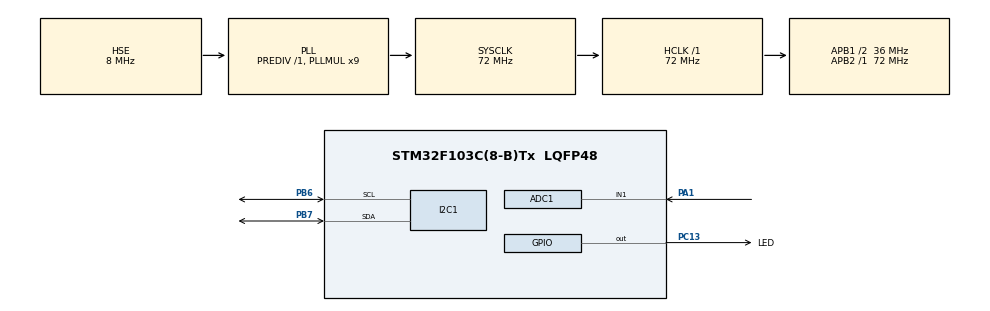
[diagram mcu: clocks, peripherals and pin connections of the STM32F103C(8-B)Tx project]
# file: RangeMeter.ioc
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ADC1.Channel-0\#ChannelRegularConversion=ADC_CHANNEL_1
ADC1.NbrOfConversionFlag=1
ADC1.Rank-0\#ChannelRegularConversion=1
ADC1.SamplingTime-0\#ChannelRegularConversion=ADC_SAMPLETIME_1CYCLE_5
ADC1.master=1
Mcu.Family=STM32F1
Mcu.Name=STM32F103C(8-B)Tx
Mcu.Package=LQFP48
NVIC.PriorityGroup=NVIC_PRIORITYGROUP_4
PA1.Signal=ADCx_IN1
PA13.Mode=Serial_Wire
PA13.Signal=SYS_JTMS-SWDIO
PA14.Mode=Serial_Wire
PA14.Signal=SYS_JTCK-SWCLK
PB6.Mode=I2C
PB6.Signal=I2C1_SCL
PB7.Mode=I2C
PB7.Signal=I2C1_SDA
PC13-TAMPER-RTC.GPIO_Label=LED
PC13-TAMPER-RTC.Signal=GPIO_Output
PD0-OSC_IN.Mode=HSE-External-Oscillator
PD0-OSC_IN.Signal=RCC_OSC_IN
PD1-OSC_OUT.Mode=HSE-External-Oscillator
PD1-OSC_OUT.Signal=RCC_OSC_OUT
ProjectManager.HeapSize=0x200
ProjectManager.StackSize=0x400
ProjectManager.TargetToolchain=STM32CubeIDE
RCC.ADCPresc=RCC_ADCPCLK2_DIV6
RCC.AHBFreq_Value=72000000
RCC.APB1CLKDivider=RCC_HCLK_DIV2
RCC.APB1Freq_Value=36000000
RCC.APB1TimFreq_Value=72000000
RCC.APB2Freq_Value=72000000
RCC.APB2TimFreq_Value=72000000
RCC.HCLKFreq_Value=72000000
RCC.PLLMUL=RCC_PLL_MUL9
RCC.PLLSourceVirtual=RCC_PLLSOURCE_HSE
RCC.SYSCLKFreq_VALUE=72000000
RCC.SYSCLKSource=RCC_SYSCLKSOURCE_PLLCLK
RCC.USBFreq_Value=72000000
SH.ADCx_IN1.0=ADC1_IN1,IN1
board=custom

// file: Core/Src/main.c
/* USER CODE BEGIN Header */
/**
  ******************************************************************************
  * @file           : main.c
  * @brief          : Main program body
  ******************************************************************************
  * @attention
  *
  * Copyright (c) 2024 STMicroelectronics.
  * All rights reserved.
  *
  * This software is licensed under terms that can be found in the LICENSE file
  * in the root directory of this software component.
  * If no LICENSE file comes with this software, it is provided AS-IS.
  *
  ******************************************************************************
  */
/* USER CODE END Header */
#include "main.h"

/* USER CODE BEGIN Includes */

#include "i2c-lcd.h"
#include <math.h>
#include <stdio.h>

/* USER CODE END Includes */

ADC_HandleTypeDef hadc1;

I2C_HandleTypeDef hi2c1;

void SystemClock_Config(void);
static void MX_GPIO_Init(void);
static void MX_I2C1_Init(void);
static void MX_ADC1_Init(void);

int main(void)
{

  /* USER CODE BEGIN 1 */

	uint16_t adc_value;
	float v;
	float raw_distance;
	char float_str_distance [50];
	char float_str_voltage [50];

  /* USER CODE END 1 */

  /* MCU Configuration--------------------------------------------------------*/

  /* Reset of all peripherals, Initializes the Flash interface and the Systick. */
  HAL_Init();

  /* Configure the system clock */
  SystemClock_Config();

  /* Initialize all configured peripherals */
  MX_GPIO_Init();
  MX_I2C1_Init();
  MX_ADC1_Init();
  /* USER CODE BEGIN 2 */

  HAL_ADCEx_Calibration_Start(&hadc1);
  lcd_init();

  /* USER CODE END 2 */

  /* Infinite loop */
  while (1)
  {

    /* USER CODE BEGIN 3 */
	  HAL_ADC_Start(&hadc1);
	  HAL_ADC_PollForConversion(&hadc1, 100);
	  adc_value = HAL_ADC_GetValue(&hadc1);
	  HAL_ADC_Stop(&hadc1);

	  v = adc_value * (3.3 / 4096);

	  raw_distance = -154.87537 * pow(v,7) + 1995.85850 * pow(v,6) -10818.02023 * pow(v,5) + 31962.20404 * pow(v, 4) -55626.99701 * pow(v, 3) + 57152.86717 * pow(v, 2) -32273.98130 * v + 7853.47707;

	  lcd_clear();
	  lcd_put_cur(0, 0);

	  snprintf(float_str_distance, sizeof(float_str_distance), "%.2f Cm", raw_distance);

	  lcd_send_string(float_str_distance);

	  HAL_Delay(50);

	  lcd_put_cur(1, 0);

	  snprintf(float_str_voltage, sizeof(float_str_voltage), "%.2f Volts", v);

	  lcd_send_string(float_str_voltage);

	  HAL_Delay(500);
  }
  /* USER CODE END 3 */
}

void SystemClock_Config(void)
{
  RCC_OscInitTypeDef RCC_OscInitStruct = {0};
  RCC_ClkInitTypeDef RCC_ClkInitStruct = {0};
  RCC_PeriphCLKInitTypeDef PeriphClkInit = {0};

  /** Initializes the RCC Oscillators according to the specified parameters
  * in the RCC_OscInitTypeDef structure.
  */
  RCC_OscInitStruct.OscillatorType = RCC_OSCILLATORTYPE_HSE;
  RCC_OscInitStruct.HSEState = RCC_HSE_ON;
  RCC_OscInitStruct.HSEPredivValue = RCC_HSE_PREDIV_DIV1;
  RCC_OscInitStruct.HSIState = RCC_HSI_ON;
  RCC_OscInitStruct.PLL.PLLState = RCC_PLL_ON;
  RCC_OscInitStruct.PLL.PLLSource = RCC_PLLSOURCE_HSE;
  RCC_OscInitStruct.PLL.PLLMUL = RCC_PLL_MUL9;
  if (HAL_RCC_OscConfig(&RCC_OscInitStruct) != HAL_OK)
  {
    Error_Handler();
  }

  /** Initializes the CPU, AHB and APB buses clocks
  */
  RCC_ClkInitStruct.ClockType = RCC_CLOCKTYPE_HCLK|RCC_CLOCKTYPE_SYSCLK
                              |RCC_CLOCKTYPE_PCLK1|RCC_CLOCKTYPE_PCLK2;
  RCC_ClkInitStruct.SYSCLKSource = RCC_SYSCLKSOURCE_PLLCLK;
  RCC_ClkInitStruct.AHBCLKDivider = RCC_SYSCLK_DIV1;
  RCC_ClkInitStruct.APB1CLKDivider = RCC_HCLK_DIV2;
  RCC_ClkInitStruct.APB2CLKDivider = RCC_HCLK_DIV1;

  if (HAL_RCC_ClockConfig(&RCC_ClkInitStruct, FLASH_LATENCY_2) != HAL_OK)
  {
    Error_Handler();
  }
  PeriphClkInit.PeriphClockSelection = RCC_PERIPHCLK_ADC;
  PeriphClkInit.AdcClockSelection = RCC_ADCPCLK2_DIV6;
  if (HAL_RCCEx_PeriphCLKConfig(&PeriphClkInit) != HAL_OK)
  {
    Error_Handler();
  }
}

static void MX_ADC1_Init(void)
{

  ADC_ChannelConfTypeDef sConfig = {0};

  /** Common config
  */
  hadc1.Instance = ADC1;
  hadc1.Init.ScanConvMode = ADC_SCAN_DISABLE;
  hadc1.Init.ContinuousConvMode = DISABLE;
  hadc1.Init.DiscontinuousConvMode = DISABLE;
  hadc1.Init.ExternalTrigConv = ADC_SOFTWARE_START;
  hadc1.Init.DataAlign = ADC_DATAALIGN_RIGHT;
  hadc1.Init.NbrOfConversion = 1;
  if (HAL_ADC_Init(&hadc1) != HAL_OK)
  {
    Error_Handler();
  }

  /** Configure Regular Channel
  */
  sConfig.Channel = ADC_CHANNEL_1;
  sConfig.Rank = ADC_REGULAR_RANK_1;
  sConfig.SamplingTime = ADC_SAMPLETIME_1CYCLE_5;
  if (HAL_ADC_ConfigChannel(&hadc1, &sConfig) != HAL_OK)
  {
    Error_Handler();
  }

}

static void MX_I2C1_Init(void)
{

  hi2c1.Instance = I2C1;
  hi2c1.Init.ClockSpeed = 100000;
  hi2c1.Init.DutyCycle = I2C_DUTYCYCLE_2;
  hi2c1.Init.OwnAddress1 = 0;
  hi2c1.Init.AddressingMode = I2C_ADDRESSINGMODE_7BIT;
  hi2c1.Init.DualAddressMode = I2C_DUALADDRESS_DISABLE;
  hi2c1.Init.OwnAddress2 = 0;
  hi2c1.Init.GeneralCallMode = I2C_GENERALCALL_DISABLE;
  hi2c1.Init.NoStretchMode = I2C_NOSTRETCH_DISABLE;
  if (HAL_I2C_Init(&hi2c1) != HAL_OK)
  {
    Error_Handler();
  }

}

static void MX_GPIO_Init(void)
{
  GPIO_InitTypeDef GPIO_InitStruct = {0};

  /* GPIO Ports Clock Enable */
  __HAL_RCC_GPIOC_CLK_ENABLE();
  __HAL_RCC_GPIOD_CLK_ENABLE();
  __HAL_RCC_GPIOA_CLK_ENABLE();
  __HAL_RCC_GPIOB_CLK_ENABLE();

  /*Configure GPIO pin Output Level */
  HAL_GPIO_WritePin(LED_GPIO_Port, LED_Pin, GPIO_PIN_RESET);

  /*Configure GPIO pin : LED_Pin */
  GPIO_InitStruct.Pin = LED_Pin;
  GPIO_InitStruct.Mode = GPIO_MODE_OUTPUT_PP;
  GPIO_InitStruct.Pull = GPIO_NOPULL;
  GPIO_InitStruct.Speed = GPIO_SPEED_FREQ_LOW;
  HAL_GPIO_Init(LED_GPIO_Port, &GPIO_InitStruct);

}

void Error_Handler(void)
{
  __disable_irq();
  while (1)
  {
  }
}
